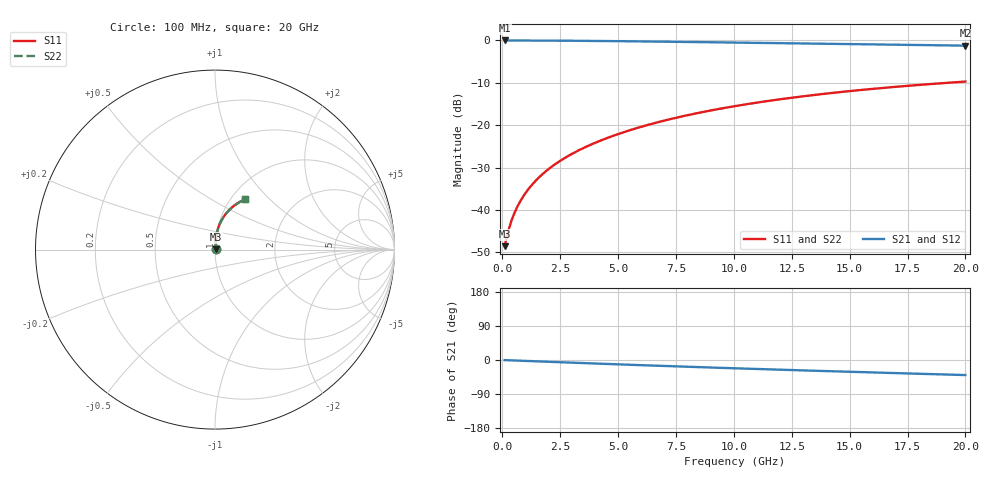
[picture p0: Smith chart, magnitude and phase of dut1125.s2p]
! Touchstone file exported from HFSS 2024.1.0
!  File:  C:/UserFiles/LocalFiles/RDL_TSV_Batchsim/temp_RDL_bottom_1125_1780055050.aedt
!  Generated:  07:46:23 PM May 29, 2026
!  Design:  RDL_bottom
!  Project:  temp_RDL_bottom_1125_1780055050
!  Setup:  Setup1
!  Solution:  Sweep
! Variables:
!  dtsv = 10.80580581um
!  hbump = 3um
!  htsv = 85.57um
!  ldown = 587.92um
!  lrdl = 100um
!  p = 40
!  p1 = 44.26um
!  rhole = 1um
!  t = 450um
!  tdown = 2.95um
!  trdl = 3.915915916um
!  wdown = 22.88um
!  wrdl = 20um
# GHz S MA R 50.000000
! Terminal data exported
! Port[1] = RDL1_T1
! Port[2] = RDL1_T2
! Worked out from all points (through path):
!   200 points, 100 MHz to 20 GHz, reference 50 ohm
!   highest |S21| = -0.03 dB at 100 MHz (marker M1); lowest = -1.3 dB at 20 GHz (marker M2)
!   group delay of S21, straight-line fit = 5.48 ps
!   lowest |S11| = -48.5 dB at 100 MHz (marker M3), VSWR 1.01, Z = 50.3 + j0.175 ohm
!   |S11| at or under -10 dB: start of sweep to 19.26 GHz
!   |S22| runs from -48.5 to -9.7 dB; largest |S21 - S12| = 3.9e-15
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0.1  0.003749 27.6  0.9967 -0.3  0.9967 -0.3  0.003749 27.6
! Gamma 0 0 0 0
! Port Impedance 50 0 50 0
0.3  0.006179 53.7  0.9963 -0.7  0.9963 -0.7  0.006179 53.7
0.4  0.007534 59.5  0.996 -1.0  0.996 -1.0  0.007534 59.5
0.5  0.008893 63.6  0.9958 -1.2  0.9958 -1.2  0.008894 63.6
0.6  0.01026 66.7  0.9956 -1.5  0.9956 -1.5  0.01026 66.6
0.8  0.01301 71.1  0.9953 -1.9  0.9953 -1.9  0.01301 71.1
1  0.01581 74.2  0.9949 -2.4  0.9949 -2.4  0.01581 74.2
1.2  0.01865 76.4  0.9945 -2.9  0.9945 -2.9  0.01865 76.4
1.7  0.02594 80.0  0.9932 -4.0  0.9932 -4.0  0.02594 79.9
2.2  0.03342 81.9  0.9917 -5.2  0.9917 -5.2  0.03342 81.9
2.8  0.04265 83.3  0.9894 -6.6  0.9894 -6.6  0.04263 83.2
3.5  0.05372 84.0  0.9862 -8.2  0.9862 -8.2  0.0537 84.0
4.2  0.06512 84.2  0.9825 -9.8  0.9825 -9.8  0.06508 84.2
5  0.07852 84.0  0.9777 -11.5  0.9777 -11.5  0.07846 83.9
5.9  0.09399 83.4  0.9719 -13.5  0.9719 -13.5  0.0939 83.3
6.8  0.1098 82.4  0.9656 -15.4  0.9656 -15.4  0.1097 82.3
8.4  0.1383 80.2  0.9539 -18.6  0.9539 -18.6  0.1381 80.0
10.1  0.1687 77.3  0.9411 -22.0  0.9411 -22.0  0.1684 77.2
11.7  0.1968 74.4  0.9288 -25.1  0.9288 -25.1  0.1964 74.3
13.4  0.2259 71.2  0.9157 -28.2  0.9157 -28.2  0.2254 71.1
16.7  0.2788 65.1  0.8905 -34.1  0.8905 -34.1  0.2782 64.9
20  0.3264 59.2  0.8657 -39.7  0.8657 -39.7  0.3257 59.0
